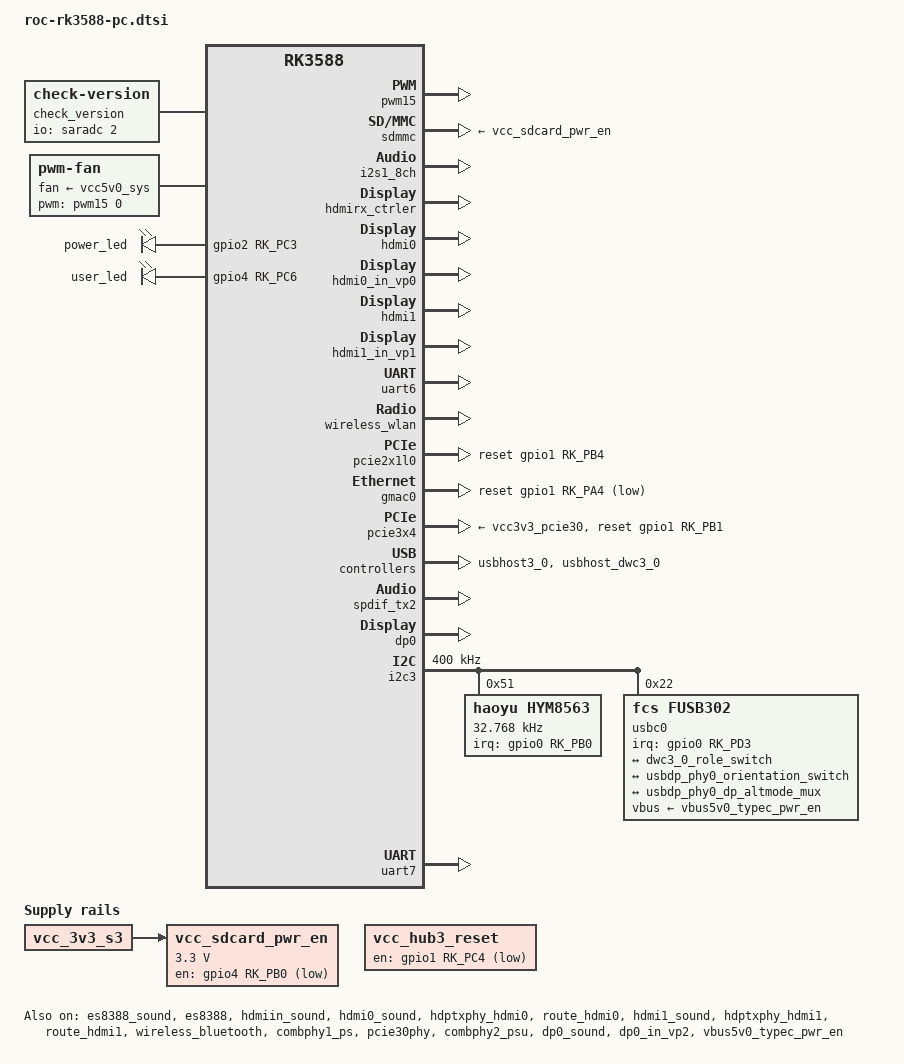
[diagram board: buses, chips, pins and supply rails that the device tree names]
// SPDX-License-Identifier: (GPL-2.0+ OR MIT)
/*
 * Copyright (c) 2021 Rockchip Electronics Co., Ltd.
 *
 */
 
 #define rk3588
 #include "rk3588-firefly-port.dtsi"
 #include "rk3588-diff.dtsi"

 / {
	chosen: chosen {
		bootargs = "earlycon=uart8250,mmio32,0xfeb50000 console=ttyFIQ0 irqchip.gicv3_pseudo_nmi=0 root=PARTLABEL=rootfs rootfstype=ext4 ro rootwait overlayroot=device:dev=PARTLABEL=userdata,fstype=ext4,mkfs=1 coherent_pool=1m systemd.gpt_auto=0 cgroup_enable=memory swapaccount=1 net.ifnames=0";
	};
	/* "Check-Version" is for compatible with multiple devices. Delete it if you do not need it */
	check_version: check-version {
		compatible = "check-version";
		dtb-name = "roc-rk3588-pc";
		u-boot,dm-pre-reloc;
		io-channels = <&saradc 2>;
		version-num = <3>;
		version-adc-range0 = <1950 2150>;
		version-dtb-path0 = "ext-vga-v11";
		//status = "disabled";
	};

	/* FAN */
	fan: pwm-fan {
		compatible = "pwm-fan";
		#cooling-cells = <2>;
		fan-supply = <&vcc5v0_sys>;
		pwms = <&pwm15 0 50000 1>;
	};
	/*For ext board public overlay -> start*/
	reset_ctrl_4_5g: reset-ctrlt_4_5g {		/* on ext board */
		status = "disabled";
	};
	vcc3v3_sys_ext: vcc3v3-sys-ext {		/* on ext board */
		status = "disabled";
	};
	vcc5v0_sys_ext: vcc5v0-sys-ext {		/* on ext board */
		status = "disabled";
	};
	vcc3v8_4g_ext: vcc3v8-4g-ext {			/* on ext board */
		status = "disabled";
	};
	/*For ext board public overlay <- end*/

	/*For ext-usb3 board overlay -> start*/
	vcc_hub3_reset_ext: vcc-hub3-reset-ext {	/* on ext board */
		status = "disabled";
	};
	usb3_host_ext: usb3-host-ext {	/* on ext board */
		status = "disabled";
	};
	/*For ext-usb3 board overlay <- end*/


	/*For ext-switch board overlay -> start*/
	dvddio_rtl8367n_power_ext: dvddio-rtl8367n-power-ext {	/* on ext board */
		status = "disabled";
	};
	avddl_rtl8367n_power_ext: avddl-rtl8367n-power-ext {	/* on ext board */
		status = "disabled";
	};
	/*For ext-switch board overlay <- end*/

	/*For bp-dsi display overlay -> start*/
	backlight: backlight {
		status = "disabled";
	};
	/*For bp-dsi display overlay <- end*/

};

&firefly_leds{
	power_debug_led: power-debug {
		label = ":power-debug";
		linux,default-trigger = "ir-power-debug-click";
		default-state = "on";
		gpios = <&gpio1 RK_PD0 GPIO_ACTIVE_HIGH>;
		pinctrl-names = "default";
		pinctrl-0 = <&led_power_debug>;
	};
};

/* FAN */
&vcc_fan_pwr_en{
	status = "disabled";
	gpio = <&gpio1 RK_PB0 GPIO_ACTIVE_LOW>;  
};
&pwm1{
	pinctrl-0 = <&pwm1m0_pins>;
	status = "disabled";
};
&pwm15{
	pinctrl-0 = <&pwm15m2_pins>;
	status = "okay";	
};
/* Led */
&power_led{
       gpios = <&gpio2 RK_PC3 GPIO_ACTIVE_HIGH>;
       pinctrl-names = "default";
       pinctrl-0 = <&led_power>;
};

&user_led{
       gpios = <&gpio4 RK_PC6 GPIO_ACTIVE_HIGH>;
       pinctrl-names = "default";
       pinctrl-0 = <&led_user>;
};

/* tf-card */
&sdmmc {
	status = "okay";
	vmmc-supply = <&vcc_sdcard_pwr_en>;
};

&vcc_sdcard_pwr_en{
	/delete-property/ enable-active-high; 
	enable-active-low;
	regulator-min-microvolt = <3300000>;
	regulator-max-microvolt = <3300000>;
	gpio = <&gpio4 RK_PB0 GPIO_ACTIVE_LOW>; 
	vin-supply = <&vcc_3v3_s3>;
	status = "okay";	
};


/* es8323 audio codec */
&es8388_sound{
	status = "okay";
	/delete-property/ hp-det-gpio;
	hp-det-adc-value = <4095>; //adc value,not microvolt
	/delete-property/ spk-con-gpio;
	hp-con-gpio = <&gpio2 RK_PC4 GPIO_ACTIVE_HIGH>;
	/delete-property/ pinctrl-names;
	/delete-property/ pinctrl-0;
	rockchip,cpu = <&i2s1_8ch>;
	rockchip,audio-routing =
			"Headphone", "LOUT1",
			"Headphone", "ROUT1",
			"Headphone", "Headphone Power",
			"Headphone", "Headphone Power",
			"LINPUT1", "Main Mic",
			"RINPUT1", "Main Mic",
			"LINPUT2", "Headset Mic",
			"RINPUT2", "Headset Mic";
	linein-type = <3>;

};
&es8388{
	status = "okay";
	clocks = <&mclkout_i2s1>;
	clock-names = "mclk";
	assigned-clocks = <&mclkout_i2s1>;
	assigned-clock-rates = <12288000>;
	pinctrl-names = "default";
	pinctrl-0 = <&i2s1m0_mclk>;
};
&i2s1_8ch{
	status = "okay";
	pinctrl-0 = <&i2s1m0_lrck
				&i2s1m0_sclk
				&i2s1m0_sdi0
				&i2s1m0_sdo0>;	
};

/* hdmi rx */
&hdmiin_sound{
	status = "okay";
};

&hdmirx_ctrler {
	status = "okay";
	hpd-trigger-level = <1>;
	hdmirx-det-gpios = <&gpio1 RK_PD5 GPIO_ACTIVE_LOW>;
};

/* hdmi0 */
&hdmi0 {
	enable-gpios = <&gpio4 RK_PA0 GPIO_ACTIVE_HIGH>;
	status = "okay";
};

&hdmi0_in_vp0 {
	status = "okay";
};

&hdmi0_sound {
	status = "okay";
};

&hdptxphy_hdmi0 {
	status = "okay";
};

&route_hdmi0{
	status = "okay";
};

/* hdmi1 */
&hdmi1 {
	enable-gpios = <&gpio1 RK_PC2 GPIO_ACTIVE_HIGH>;
	status = "okay";
};

&hdmi1_sound {
	status = "okay";
};

&hdmi1_in_vp1 {
        status = "okay";
};

&hdptxphy_hdmi1 {
	status = "okay";
};

&route_hdmi1{
	status = "okay";
	connect = <&vp1_out_hdmi1>;
};

&display_subsystem {
       clocks = <&hdptxphy_hdmi_clk0>, <&hdptxphy_hdmi_clk1>;
       clock-names = "hdmi0_phy_pll", "hdmi1_phy_pll";
};

&hdptxphy_hdmi_clk0 {
       status = "okay";
};

&hdptxphy_hdmi_clk1 {
       status = "okay";
};

/*ap6275 : bluetooth*/
&wireless_bluetooth{
	status = "okay";
};

&uart6 {
	pinctrl-names = "default";
	pinctrl-0 = <&uart6m1_xfer &uart6m1_ctsn>;
	status = "okay";
};

/* ap6275 : wifi */
&wireless_wlan{
	wifi_chip_type = "ap6275p";
	status = "okay";
};

&combphy1_ps {
	status = "okay";
};

&pcie2x1l0 {
	reset-gpios = <&gpio1 RK_PB4 GPIO_ACTIVE_HIGH>;
	rockchip,skip-scan-in-resume;
	status = "okay";
};

/* gamc0 */
&gmac0 {
	snps,reset-gpio = <&gpio1 RK_PA4 GPIO_ACTIVE_LOW>;
	tx_delay = <0x47>;
	status = "okay";
};

&gmac0_tx_bus2{
    rockchip,pins =
    /* gmac0_txd0 */
    <2 RK_PB6 1 &pcfg_pull_up_drv_level_6>,
    /* gmac0_txd1 */
    <2 RK_PB7 1 &pcfg_pull_up_drv_level_6>,
    /* gmac0_txen */
    <2 RK_PC0 1 &pcfg_pull_none>;
};

&gmac0_rgmii_bus{
	rockchip,pins =
	/* gmac0_rxd2 */
	<2 RK_PA6 1 &pcfg_pull_none>,
	/* gmac0_rxd3 */
	<2 RK_PA7 1 &pcfg_pull_none>,
	/* gmac0_txd2 */
	<2 RK_PB1 1 &pcfg_pull_up_drv_level_6>,
	/* gmac0_txd3 */
	<2 RK_PB2 1 &pcfg_pull_up_drv_level_6>;
};

/* pcie3.0 x 4 Lane (M.2 nvme) */
&pcie30phy {
	status = "okay";
};
&pcie3x4 {
	reset-gpios = <&gpio1 RK_PB1 GPIO_ACTIVE_HIGH>;
	vpcie3v3-supply = <&vcc3v3_pcie30>;
	status = "okay";
};

&vcc3v3_pcie30{
	gpios = <&gpio2 RK_PC5 GPIO_ACTIVE_HIGH>;
	regulator-always-on;
	startup-delay-us = <5000>;
	status = "okay";
};

/* usb power */

&vcc_hub3_reset{
	compatible = "regulator-fixed-firefly";
	regulator-fixed-kernel-reset-ms = <3000>;
	status = "okay";
	gpio = <&gpio1 RK_PC4 GPIO_ACTIVE_HIGH>;  
};

&vcc5v0_host3{
	gpio = <&gpio3 RK_PB7 GPIO_ACTIVE_HIGH>;  
	status = "okay";
};
&u2phy1_otg { 
       phy-supply = <&vcc5v0_host3>; 
};
&u2phy2_host { 
       phy-supply = <&vcc5v0_host3>; 
}; 

&u2phy3_host { 
       phy-supply = <&vcc5v0_host3>; 
};
&combphy2_psu{
	status = "okay";
};
&usbhost3_0{
	status = "okay";
};
&usbhost_dwc3_0{
	status = "okay";
};

/* display port0 */
&spdif_tx2{
	status = "okay";
};

&dp0_sound{
	status = "okay";
};

&dp0 {
	status = "okay";
};

&dp0_in_vp2 {
	status = "okay";
};

&vbus5v0_typec_pwr_en{
	status = "okay";
	gpio = <&gpio4 RK_PA3 GPIO_ACTIVE_HIGH>; 
};


/* Key : Recovery */
&adc_keys{
	status = "okay";
	recovery-key{
		label = "F12";
		linux,code = <KEY_F12>;
		press-threshold-microvolt = <642000>;
	};
};

/* i2c6: delete some dual-defined nodes */
&i2c6 {
	clock-frequency = <400000>; // For others Display Port Screen
	status = "disabled";
	/delete-node/ hym8563@51;
	/delete-node/ fusb302@22;
};

&i2c3 {
	status = "okay";
	pinctrl-names = "default";
	pinctrl-0 = <&i2c3m0_xfer>;
	clock-frequency = <400000>;
	hym8563: hym8563@51 {
		compatible = "haoyu,hym8563";
		reg = <0x51>;
		#clock-cells = <0>;
		clock-frequency = <32768>;
		clock-output-names = "hym8563";
		pinctrl-names = "default";
		pinctrl-0 = <&hym8563_int>;
		interrupt-parent = <&gpio0>;
		interrupts = <RK_PB0 IRQ_TYPE_LEVEL_LOW>;
		wakeup-source;
		status = "okay";
	};

	usbc0: fusb302@22 {
		compatible = "fcs,fusb302";
		reg = <0x22>;
		interrupt-parent = <&gpio0>;
		interrupts = <RK_PD3 IRQ_TYPE_LEVEL_LOW>;
		pinctrl-names = "default";
		pinctrl-0 = <&usbc0_int>;
		vbus-supply = <&vbus5v0_typec_pwr_en>;
		status = "okay";

		ports {
			#address-cells = <1>;
			#size-cells = <0>;

			port@0 {
				reg = <0>;
				usbc0_role_sw: endpoint@0 {
					remote-endpoint = <&dwc3_0_role_switch>;
				};
			};
		};

		usb_con: connector {
			compatible = "usb-c-connector";
			label = "USB-C";
			data-role = "dual";
			power-role = "dual";
			try-power-role = "sink";
			op-sink-microwatt = <1000000>;
			sink-pdos =
				<PDO_FIXED(5000, 1000, PDO_FIXED_USB_COMM)>;
			source-pdos =
				<PDO_FIXED(5000, 3000, PDO_FIXED_USB_COMM)>;

			altmodes {
				#address-cells = <1>;
				#size-cells = <0>;

				altmode@0 {
					reg = <0>;
					svid = <0xff01>;
					vdo = <0xffffffff>;
				};
			};

			ports {
				#address-cells = <1>;
				#size-cells = <0>;

				port@0 {
					reg = <0>;
					usbc0_orien_sw: endpoint {
						remote-endpoint = <&usbdp_phy0_orientation_switch>;
					};
				};

				port@1 {
					reg = <1>;
					dp_altmode_mux: endpoint {
						remote-endpoint = <&usbdp_phy0_dp_altmode_mux>;
					};
				};
			};
		};
	};
};

/* uart7 */
&uart7 {
	status = "okay";
	pinctrl-0 = <&uart7m0_xfer>;
};


/* pinctrl */
&pinctrl {
	dp {
		dp1_hpd: dp1-hpd {
			rockchip,pins = <4 RK_PB2 RK_FUNC_GPIO &pcfg_pull_none>;
		};
	};

	leds {
		led_power: led-power {
			rockchip,pins = <2 RK_PC3 RK_FUNC_GPIO &pcfg_pull_none>;
		};
		led_user: led-user{
			rockchip,pins = <4 RK_PC6 RK_FUNC_GPIO &pcfg_pull_none>;
		};
		led_power_debug: led-power-debug {
				rockchip,pins = <1 RK_PD0 RK_FUNC_GPIO &pcfg_pull_none>;
		};
 	};

	hdmirx {
		hdmirx_det: hdmirx-det {
			rockchip,pins = <1 RK_PD5 RK_FUNC_GPIO &pcfg_pull_up>;
		};
	};
	/delete-node/ headphone;

	hym8563 {
		hym8563_int: hym8563-int {
			rockchip,pins = <0 RK_PB0 RK_FUNC_GPIO &pcfg_pull_up>;
		};
	};

	usb-typec { 
		usbc0_int: usbc0-int { 
			rockchip,pins = <0 RK_PD3 RK_FUNC_GPIO &pcfg_pull_up>; 
		}; 
	};

	wireless-bluetooth {
		uart6_gpios: uart6-gpios {
			rockchip,pins = <1 RK_PA2 RK_FUNC_GPIO &pcfg_pull_none>;
		};

		bt_reset_gpio: bt-reset-gpio {
			rockchip,pins = <0 RK_PC6 RK_FUNC_GPIO &pcfg_pull_none>;
		};

		bt_wake_gpio: bt-wake-gpio {
			rockchip,pins = <0 RK_PC5 RK_FUNC_GPIO &pcfg_pull_none>;
		};

		bt_irq_gpio: bt-irq-gpio {
			rockchip,pins = <0 RK_PA0 RK_FUNC_GPIO &pcfg_pull_down>;
		};
	};

	wireless-wlan {
		wifi_host_wake_irq: wifi-host-wake-irq {
			rockchip,pins = <0 RK_PB2 RK_FUNC_GPIO &pcfg_pull_down>;
		};

		wifi_poweren_gpio: wifi-poweren-gpio {
			rockchip,pins = <0 RK_PC4 RK_FUNC_GPIO &pcfg_pull_up>;
		};
	};
};
